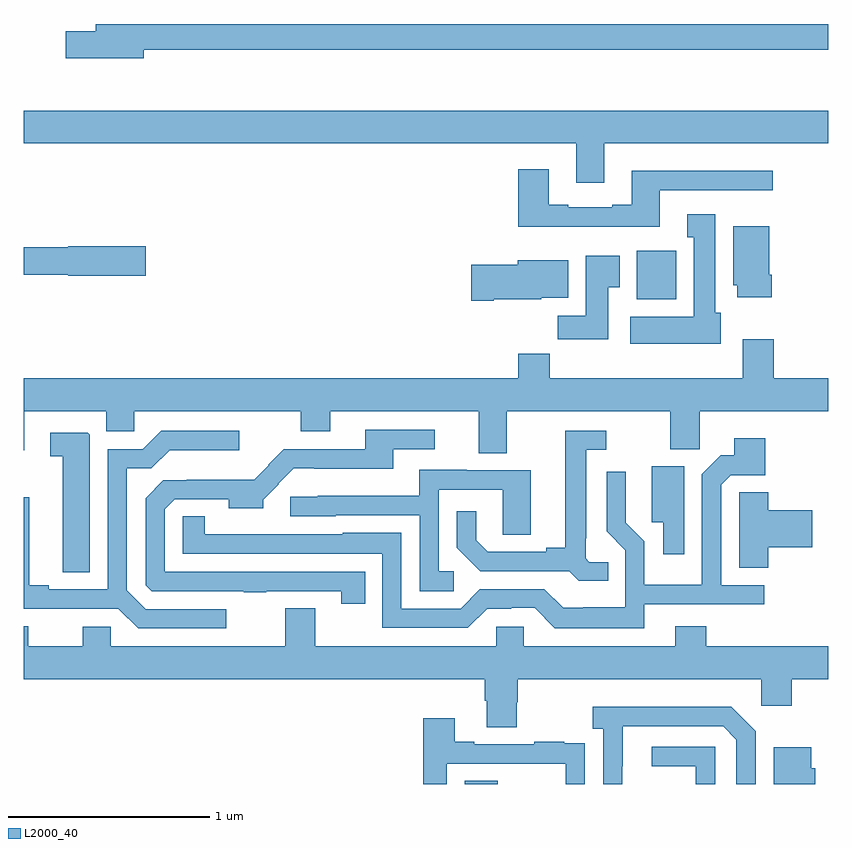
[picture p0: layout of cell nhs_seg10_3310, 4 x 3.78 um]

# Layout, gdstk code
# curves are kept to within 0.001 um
import gdstk
lib = gdstk.Library(unit=1e-6, precision=1e-09)
def R(c, l, rs):  # rectangles x0, y0, x1, y1
    for r in rs: c.add(gdstk.rectangle(r[:2], r[2:], *l))
def P(c, l, *ps):  # polygons
    for p in ps: c.add(gdstk.Polygon(p, *l))
L2000_40 = (2000, 40)

nhs_seg10_3310 = lib.new_cell('nhs_seg10_3310')
R(nhs_seg10_3310, L2000_40, [(293.192,1262.5,293.356,1262.516), (294.047,1264.91,294.244,1265.152)])
P(nhs_seg10_3310, L2000_40, [(291.598,1266.15),(295,1266.15),(295,1266.278),(291.359,1266.278),(291.359,1266.242),(291.21,1266.242),(291.21,1266.107),(291.598,1266.107)],
  [(293.887,1265.684),(295,1265.684),(295,1265.848),(291,1265.848),(291,1265.684),(293.747,1265.684),(293.747,1265.49),(293.887,1265.49)],
  [(294.163,1265.451),(294.724,1265.451),(294.724,1265.548),(294.023,1265.548),(294.023,1265.38),(293.927,1265.38),(293.927,1265.367),(293.707,1265.367),(293.707,1265.38),(293.611,1265.38),(293.611,1265.557),(293.459,1265.557),(293.459,1265.27),(294.163,1265.27)],
  [(294.466,1264.842),(294.439,1264.842),(294.439,1265.332),(294.299,1265.332),(294.299,1265.219),(294.332,1265.219),(294.332,1264.822),(294.015,1264.822),(294.015,1264.688),(294.466,1264.688)],
  [(294.719,1265.032),(294.706,1265.032),(294.706,1265.272),(294.527,1265.272),(294.527,1264.98),(294.548,1264.98),(294.548,1264.92),(294.719,1264.92)],
  [(291.607,1265.174),(291.222,1265.174),(291.222,1265.168),(291,1265.168),(291,1265.032),(291.222,1265.032),(291.222,1265.027),(291.607,1265.027)],
  [(293.905,1264.969),(293.962,1264.969),(293.962,1265.125),(293.795,1265.125),(293.795,1264.828),(293.656,1264.828),(293.656,1264.71),(293.905,1264.71)],
  [(293.338,1264.91),(293.574,1264.91),(293.574,1264.916),(293.707,1264.916),(293.707,1265.104),(293.456,1265.104),(293.456,1265.081),(293.226,1265.081),(293.226,1264.903),(293.338,1264.903)],
  [(293.401,1264.352),(294.214,1264.352),(294.214,1264.165),(294.36,1264.165),(294.36,1264.352),(295,1264.352),(295,1264.516),(294.728,1264.516),(294.728,1264.711),(294.575,1264.711),(294.575,1264.516),(293.615,1264.516),(293.615,1264.64),(293.459,1264.64),(293.459,1264.516),(291,1264.516),(291,1264.158),(291.004,1264.158),(291.004,1264.352),(291.41,1264.352),(291.41,1264.254),(291.549,1264.254),(291.549,1264.352),(292.378,1264.352),(292.378,1264.253),(292.525,1264.253),(292.525,1264.352),(293.261,1264.352),(293.261,1264.144),(293.401,1264.144)],
  [(292.697,1263.555),(291.702,1263.555),(291.702,1263.867),(291.75,1263.915),(292.019,1263.915),(292.019,1263.872),(292.19,1263.872),(292.19,1263.912),(292.269,1263.99),(292.266,1263.993),(292.343,1264.07),(292.444,1264.07),(292.444,1264.067),(292.837,1264.067),(292.837,1264.164),(293.044,1264.164),(293.044,1264.26),(292.697,1264.26),(292.697,1264.164),(292.293,1264.164),(292.217,1264.087),(292.219,1264.085),(292.145,1264.012),(291.811,1264.012),(291.811,1264.01),(291.695,1264.01),(291.606,1263.921),(291.606,1263.489),(291.636,1263.459),(292.093,1263.459),(292.093,1263.454),(292.205,1263.454),(292.205,1263.459),(292.579,1263.459),(292.579,1263.396),(292.697,1263.396)],
  [(293.906,1263.603),(293.811,1263.603),(293.793,1263.621),(293.793,1263.721),(293.797,1263.721),(293.797,1264.161),(293.896,1264.161),(293.896,1264.257),(293.693,1264.257),(293.693,1263.674),(293.597,1263.674),(293.597,1263.654),(293.308,1263.654),(293.251,1263.711),(293.251,1263.856),(293.154,1263.856),(293.154,1263.674),(293.27,1263.558),(293.712,1263.558),(293.76,1263.511),(293.906,1263.511)],
  [(292.006,1263.369),(291.606,1263.369),(291.513,1263.462),(291.513,1264.069),(291.634,1264.069),(291.725,1264.16),(292.072,1264.16),(292.072,1264.257),(291.684,1264.257),(291.591,1264.164),(291.417,1264.164),(291.417,1263.468),(291.124,1263.468),(291.124,1263.488),(291.028,1263.488),(291.028,1263.925),(291,1263.925),(291,1263.372),(291.47,1263.372),(291.569,1263.273),(292.006,1263.273)],
  [(291.328,1264.235),(291.318,1264.245),(291.132,1264.245),(291.132,1264.129),(291.194,1264.129),(291.194,1263.553),(291.328,1263.553)],
  [(294.085,1263.393),(294.682,1263.393),(294.682,1263.489),(294.468,1263.489),(294.468,1263.987),(294.516,1264.035),(294.686,1264.035),(294.686,1264.219),(294.533,1264.219),(294.533,1264.134),(294.465,1264.134),(294.372,1264.041),(294.372,1263.49),(294.084,1263.49),(294.084,1263.706),(293.993,1263.798),(293.994,1264.051),(293.898,1264.051),(293.898,1263.756),(293.991,1263.663),(293.991,1263.379),(293.782,1263.379),(293.782,1263.375),(293.682,1263.375),(293.589,1263.468),(293.268,1263.468),(293.172,1263.372),(292.878,1263.372),(292.878,1263.748),(292.587,1263.748),(292.587,1263.741),(291.901,1263.742),(291.901,1263.83),(291.792,1263.83),(291.792,1263.645),(292.782,1263.645),(292.782,1263.276),(293.208,1263.276),(293.304,1263.372),(293.424,1263.372),(293.424,1263.375),(293.541,1263.375),(293.641,1263.275),(294.085,1263.275)],
  [(294.283,1264.08),(294.122,1264.08),(294.122,1263.801),(294.179,1263.801),(294.179,1263.642),(294.283,1263.642)],
  [(293.137,1263.558),(293.064,1263.558),(293.064,1263.963),(293.382,1263.963),(293.382,1263.739),(293.521,1263.739),(293.521,1264.059),(293.203,1264.059),(293.203,1264.063),(292.967,1264.063),(292.967,1263.934),(292.461,1263.934),(292.461,1263.927),(292.326,1263.927),(292.326,1263.831),(292.551,1263.831),(292.551,1263.837),(292.968,1263.837),(292.968,1263.457),(293.137,1263.457)],
  [(294.701,1263.677),(294.919,1263.677),(294.919,1263.86),(294.701,1263.86),(294.701,1263.95),(294.558,1263.95),(294.558,1263.842),(294.557,1263.842),(294.557,1263.574),(294.701,1263.574)],
  [(293.451,1262.907),(293.456,1262.907),(293.456,1263.02),(294.666,1263.02),(294.666,1262.889),(294.818,1262.889),(294.818,1263.02),(295,1263.02),(295,1263.184),(294.392,1263.184),(294.392,1263.283),(294.239,1263.283),(294.239,1263.184),(293.487,1263.184),(293.487,1263.282),(293.349,1263.282),(293.349,1263.184),(292.449,1263.184),(292.449,1263.374),(292.301,1263.374),(292.301,1263.184),(291.432,1263.184),(291.432,1263.282),(291.293,1263.282),(291.293,1263.184),(291.022,1263.184),(291.022,1263.283),(291,1263.283),(291,1263.02),(293.291,1263.02),(293.291,1262.914),(293.303,1262.914),(293.303,1262.782),(293.451,1262.782)],
  [(293.976,1262.587),(293.977,1262.787),(294.477,1262.787),(294.543,1262.721),(294.543,1262.5),(294.639,1262.5),(294.639,1262.763),(294.518,1262.884),(293.829,1262.884),(293.829,1262.774),(293.88,1262.774),(293.88,1262.5),(293.976,1262.5)],
  [(293.103,1262.601),(293.694,1262.601),(293.694,1262.5),(293.79,1262.5),(293.79,1262.594),(293.789,1262.594),(293.789,1262.703),(293.687,1262.703),(293.687,1262.71),(293.539,1262.71),(293.539,1262.697),(293.239,1262.697),(293.239,1262.71),(293.143,1262.71),(293.143,1262.827),(292.987,1262.827),(292.987,1262.5),(293.103,1262.5)],
  [(294.438,1262.685),(294.123,1262.685),(294.123,1262.589),(294.342,1262.589),(294.342,1262.5),(294.438,1262.5)],
  [(294.935,1262.579),(294.916,1262.579),(294.916,1262.683),(294.728,1262.683),(294.728,1262.5),(294.935,1262.5)])

lib.write_gds('nhs_seg10_3310.gds')
